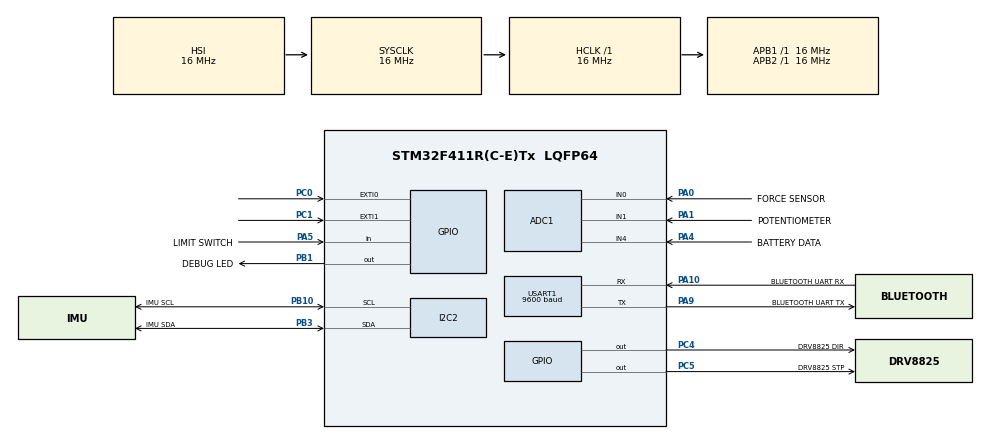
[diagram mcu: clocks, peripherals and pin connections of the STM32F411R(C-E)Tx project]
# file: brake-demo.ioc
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ADC1.Channel-0\#ChannelRegularConversion=ADC_CHANNEL_0
ADC1.Channel-1\#ChannelRegularConversion=ADC_CHANNEL_1
ADC1.Channel-4\#ChannelRegularConversion=ADC_CHANNEL_4
ADC1.ContinuousConvMode=DISABLE
ADC1.DMAContinuousRequests=ENABLE
ADC1.DiscontinuousConvMode=DISABLE
ADC1.ExternalTrigConv=ADC_EXTERNALTRIGCONV_T3_TRGO
ADC1.InjNumberOfConversion=0
ADC1.NbrOfConversion=3
ADC1.NbrOfConversionFlag=1
ADC1.Rank-0\#ChannelRegularConversion=1
ADC1.Rank-1\#ChannelRegularConversion=2
ADC1.Rank-4\#ChannelRegularConversion=3
ADC1.SamplingTime-0\#ChannelRegularConversion=ADC_SAMPLETIME_3CYCLES
ADC1.SamplingTime-1\#ChannelRegularConversion=ADC_SAMPLETIME_3CYCLES
ADC1.SamplingTime-4\#ChannelRegularConversion=ADC_SAMPLETIME_3CYCLES
ADC1.ScanConvMode=ENABLE
ADC1.master=1
Dma.ADC1.0.Direction=DMA_PERIPH_TO_MEMORY
Dma.ADC1.0.FIFOMode=DMA_FIFOMODE_DISABLE
Dma.ADC1.0.Instance=DMA2_Stream0
Dma.ADC1.0.MemDataAlignment=DMA_MDATAALIGN_HALFWORD
Dma.ADC1.0.MemInc=DMA_MINC_ENABLE
Dma.ADC1.0.Mode=DMA_CIRCULAR
Dma.ADC1.0.PeriphDataAlignment=DMA_PDATAALIGN_HALFWORD
Dma.ADC1.0.PeriphInc=DMA_PINC_DISABLE
Dma.ADC1.0.Priority=DMA_PRIORITY_LOW
Dma.Request0=ADC1
Mcu.Family=STM32F4
Mcu.Name=STM32F411R(C-E)Tx
Mcu.Package=LQFP64
Mcu.UserConstants=SLOW_PERIOD,2000;FAST_PERIOD,20
NVIC.DMA2_Stream0_IRQn=true\:0\:0\:false\:false\:true\:false\:true\:true
NVIC.EXTI0_IRQn=true\:0\:0\:false\:false\:true\:true\:true\:true
NVIC.EXTI1_IRQn=true\:0\:0\:false\:false\:true\:true\:true\:true
NVIC.PriorityGroup=NVIC_PRIORITYGROUP_4
NVIC.TIM1_TRG_COM_TIM11_IRQn=true\:0\:0\:false\:false\:true\:true\:true\:true
NVIC.TIM1_UP_TIM10_IRQn=true\:0\:0\:false\:false\:true\:true\:true\:true
PA0-WKUP.GPIO_Label=FORCE SENSOR
PA0-WKUP.Signal=ADCx_IN0
PA1.GPIO_Label=POTENTIOMETER
PA1.Signal=ADCx_IN1
PA10.GPIO_Label=BLUETOOTH UART RX
PA10.Mode=Asynchronous
PA10.Signal=USART1_RX
PA4.GPIO_Label=BATTERY DATA
PA4.Signal=ADCx_IN4
PA5.GPIO_Label=LIMIT SWITCH
PA5.Signal=GPIO_Input
PA9.GPIO_Label=BLUETOOTH UART TX
PA9.Mode=Asynchronous
PA9.Signal=USART1_TX
PB1.GPIO_Label=DEBUG LED
PB1.Signal=GPIO_Output
PB10.GPIO_Label=IMU SCL
PB10.Mode=I2C
PB10.Signal=I2C2_SCL
PB3.GPIO_Label=IMU SDA
PB3.Mode=I2C
PB3.Signal=I2C2_SDA
PC0.Signal=GPXTI0
PC1.Signal=GPXTI1
PC4.GPIO_Label=DRV8825 DIR
PC4.Signal=GPIO_Output
PC5.GPIO_Label=DRV8825 STP
PC5.Signal=GPIO_Output
ProjectManager.HeapSize=0x200
ProjectManager.StackSize=0x400
ProjectManager.TargetToolchain=STM32CubeIDE
RCC.AHBFreq_Value=16000000
RCC.APB1Freq_Value=16000000
RCC.APB2Freq_Value=16000000
RCC.CortexFreq_Value=16000000
RCC.HSE_VALUE=25000000
RCC.HSI_VALUE=16000000
RCC.LSE_VALUE=32768
RCC.SYSCLKFreq_VALUE=16000000
RCC.VCOOutputFreq_Value=192000000
SH.ADCx_IN0.0=ADC1_IN0,IN0
SH.ADCx_IN1.0=ADC1_IN1,IN1
SH.ADCx_IN4.0=ADC1_IN4,IN4
TIM10.Period=SLOW_PERIOD
TIM10.Prescaler=15
TIM11.Period=FAST_PERIOD
TIM11.Prescaler=15
TIM3.Period=16000-1
TIM3.TIM_MasterOutputTrigger=TIM_TRGO_UPDATE
USART1.BaudRate=9600
USART1.VirtualMode=VM_ASYNC
VP_TIM10_VS_ClockSourceINT.Mode=Enable_Timer
VP_TIM11_VS_ClockSourceINT.Mode=Enable_Timer
VP_TIM3_VS_ClockSourceINT.Mode=Internal
board=custom

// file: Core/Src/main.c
/* USER CODE BEGIN Header */
/**
  ******************************************************************************
  * @file           : main.c
  * @brief          : Main program body
  ******************************************************************************
  * @attention
  *
  * Copyright (c) 2022 STMicroelectronics.
  * All rights reserved.
  *
  * This software is licensed under terms that can be found in the LICENSE file
  * in the root directory of this software component.
  * If no LICENSE file comes with this software, it is provided AS-IS.
  *
  ******************************************************************************
  */
/* USER CODE END Header */
#include "main.h"

/* USER CODE BEGIN Includes */

#include "adc_sensor.h"
#include "brake_wireless.h"
#include "battery_sensor.h"
#include "force_sensor.h"
#include "i2c_mux.h"
#include "imu.h"
#include "interrupt_timer.h"
#include "joint.h"
#include "motor.h"
#include "potentiometer.h"
#include "skater.h"
#include "speed_sensor.h"
#include <stdbool.h>
#include <string.h>

/* USER CODE END Includes */

/* USER CODE BEGIN PD */

#define USE_POTENTIOMETER_FEEDBACK false
#define USE_FORCE_SENSOR false
#define USE_WIRELESS_COMMS_WATCHDOG false

/* USER CODE END PD */

ADC_HandleTypeDef hadc1;
DMA_HandleTypeDef hdma_adc1;

I2C_HandleTypeDef hi2c2;

TIM_HandleTypeDef htim3;
TIM_HandleTypeDef htim10;
TIM_HandleTypeDef htim11;

UART_HandleTypeDef huart1;

/* USER CODE BEGIN PV */

ADCSensor *adc_sensor = NULL;
BatterySensor *battery_sensor = NULL;
I2CMux* i2c_mux = NULL;
IMU *imu = NULL;
IMU *imu2 = NULL;
Motor *motor = NULL;
Potentiometer *potentiometer = NULL;
Joint *joint = NULL;
ForceSensor *force_sensor = NULL;
Skater *skater = NULL;
Wireless *wireless = NULL;
PinData* motor_direction_pin = NULL;
PinData* motor_step_pin = NULL;
PinData* limit_switch_pin = NULL;
InterruptTimer* slow_interrupt_timer = NULL;
InterruptTimer* fast_interrupt_timer = NULL;
InterruptTimer* adc_interrupt_timer = NULL;
SpeedSensor* speed_sensor = NULL;
bool send_message_flag = false;

/* USER CODE END PV */

void SystemClock_Config(void);
static void MX_GPIO_Init(void);
static void MX_DMA_Init(void);
static void MX_ADC1_Init(void);
static void MX_TIM10_Init(void);
static void MX_TIM11_Init(void);
static void MX_USART1_UART_Init(void);
static void MX_I2C2_Init(void);
static void MX_TIM3_Init(void);

/* USER CODE BEGIN 0 */

void HAL_ADC_ConvCpltCallback(ADC_HandleTypeDef *hadc1) {
	update_adc_sensor_values(adc_sensor);
}

void HAL_GPIO_EXTI_Callback(uint16_t GPIO_Pin)
{
    if(GPIO_Pin == GPIO_PIN_0)
    {
    	trigger_speed_sensor_interrupt(speed_sensor, true);
    }
    else if (GPIO_Pin == GPIO_PIN_1) {
    	trigger_speed_sensor_interrupt(speed_sensor, false);
    }
}

void HAL_TIM_PeriodElapsedCallback(TIM_HandleTypeDef *htim) {
	if (htim == fast_interrupt_timer->timer) {
		// 2 us
//		HAL_GPIO_WritePin(DEBUG_LED_GPIO_Port, DEBUG_LED_Pin, GPIO_PIN_SET);
		move_joint_to_target(joint);
//		HAL_GPIO_WritePin(DEBUG_LED_GPIO_Port, DEBUG_LED_Pin, GPIO_PIN_RESET);
	}
	if (htim == slow_interrupt_timer->timer) {
		// 2 ms
		update_adc_sensor_values(adc_sensor);
		if (USE_FORCE_SENSOR) {
			refresh_skater_status(skater);
		}
		if (USE_LIMIT_SWITCH) {
			refresh_joint_limit_switch(joint);
		}
		if (USE_POTENTIOMETER_FEEDBACK) {
			refresh_joint_angle(joint);
		}
		if (is_skater_gone(skater)) {
			set_joint_target(joint, AUTOMATIC_BRAKING_ANGLE_DEGREES);
		}
		else if (USE_WIRELESS_COMMS_WATCHDOG && is_wireless_comms_lost(wireless)) {
			set_joint_target(joint, AUTOMATIC_RELAX_ANGLE_DEGREES);
		}

		refresh_wireless_status(wireless);
	}
}

/* USER CODE END 0 */

int main(void)
{
  /* USER CODE BEGIN 1 */

	adc_sensor = new_adc_sensor(&hadc1, 3);
	i2c_mux = new_i2c_mux(&hi2c2);
	imu = new_imu(&hi2c2, i2c_mux, 0);
	imu2 = new_imu(&hi2c2, i2c_mux, 1);
	motor_direction_pin = new_pin_data(DRV8825_DIR_GPIO_Port, DRV8825_DIR_Pin, PIN_IS_OUTPUT);
	motor_step_pin = new_pin_data(DRV8825_STP_GPIO_Port, DRV8825_STP_Pin, PIN_IS_OUTPUT);
	limit_switch_pin = new_pin_data(LIMIT_SWITCH_GPIO_Port, LIMIT_SWITCH_Pin, PIN_IS_INPUT);
	motor = new_motor(motor_direction_pin, motor_step_pin);
	slow_interrupt_timer = new_interrupt_timer(&htim10);
	fast_interrupt_timer = new_interrupt_timer(&htim11);
	adc_interrupt_timer = new_interrupt_timer(&htim3);
	potentiometer = new_potentiometer(adc_sensor, 1);
	joint = new_joint(motor, potentiometer, limit_switch_pin);
	force_sensor = new_force_sensor(adc_sensor, 0);
	battery_sensor = new_battery_sensor(adc_sensor, 2);
	skater = new_skater(force_sensor);
	wireless = new_wireless(&huart1);
	speed_sensor = new_speed_sensor(imu, imu2);

  /* USER CODE END 1 */

  /* MCU Configuration--------------------------------------------------------*/

  /* Reset of all peripherals, Initializes the Flash interface and the Systick. */
  HAL_Init();

  /* Configure the system clock */
  SystemClock_Config();

  /* Initialize all configured peripherals */
  MX_GPIO_Init();
  MX_DMA_Init();
  MX_ADC1_Init();
  MX_TIM10_Init();
  MX_TIM11_Init();
  MX_USART1_UART_Init();
  MX_I2C2_Init();
  MX_TIM3_Init();
  /* USER CODE BEGIN 2 */

//  init_adc_sensor(adc_sensor);
//  start_interrupt_timer(adc_interrupt_timer);
//
//  start_interrupt_timer(fast_interrupt_timer);
//  start_interrupt_timer(slow_interrupt_timer);

  init_imu(imu);
  init_imu(imu2);
  float max_value = 0;
	  float values[3];
	  float values2[3];
for (size_t i = 0; i < 3; ++i) {
	 values[i] = 0;
	  values2[i] = 0;
}

  /* USER CODE END 2 */

  /* Infinite loop */
  while (1)
  {

    /* USER CODE BEGIN 3 */

	  HAL_Delay(100);
	  for (size_t i = 0; i < 3; ++i) {
		  refresh_imu_accel_in_axis(imu, i);
		  values[i] = get_imu_accel_in_axis(imu, i);
	  }

	  for (size_t i = 0; i < 3; ++i) {
		  refresh_imu_accel_in_axis(imu2, i);
		  values2[i] = get_imu_accel_in_axis(imu2, i);
	  }

	  if (fabs(values[2]) > max_value || fabs(values2[2] > max_value)) {
		  if (values[2] > max_value) {
			  max_value = values[2];
		  }
		  if (values2[2] > max_value) {
			  max_value = values2[2];
		  }
	  }

//	  receive_wireless(wireless, skater, joint);

	  // TODO - this statement is in an if statement since we are afraid that it takes too much time
	  // and will decrease responsiveness. However, this may not actually be true
	  // It is worth testing to see if this is actually the case.
//	  if (joint->desired_angle_degrees == joint->current_angle_degrees) {
//		  int current_speed = (int)joint->current_angle_degrees; // TODO - get actual speed
//		  send_wireless_speed(wireless, current_speed);
//
//		  int battery_data = get_battery_sensor_data(battery_sensor);
//		  send_wireless_battery_data(wireless, battery_data);  // TODO - get actual battery data
//
//	  }

  }

  /* USER CODE END 3 */
}

void SystemClock_Config(void)
{
  RCC_OscInitTypeDef RCC_OscInitStruct = {0};
  RCC_ClkInitTypeDef RCC_ClkInitStruct = {0};

  /** Configure the main internal regulator output voltage
  */
  __HAL_RCC_PWR_CLK_ENABLE();
  __HAL_PWR_VOLTAGESCALING_CONFIG(PWR_REGULATOR_VOLTAGE_SCALE1);

  /** Initializes the RCC Oscillators according to the specified parameters
  * in the RCC_OscInitTypeDef structure.
  */
  RCC_OscInitStruct.OscillatorType = RCC_OSCILLATORTYPE_HSI;
  RCC_OscInitStruct.HSIState = RCC_HSI_ON;
  RCC_OscInitStruct.HSICalibrationValue = RCC_HSICALIBRATION_DEFAULT;
  RCC_OscInitStruct.PLL.PLLState = RCC_PLL_NONE;
  if (HAL_RCC_OscConfig(&RCC_OscInitStruct) != HAL_OK)
  {
    Error_Handler();
  }

  /** Initializes the CPU, AHB and APB buses clocks
  */
  RCC_ClkInitStruct.ClockType = RCC_CLOCKTYPE_HCLK|RCC_CLOCKTYPE_SYSCLK
                              |RCC_CLOCKTYPE_PCLK1|RCC_CLOCKTYPE_PCLK2;
  RCC_ClkInitStruct.SYSCLKSource = RCC_SYSCLKSOURCE_HSI;
  RCC_ClkInitStruct.AHBCLKDivider = RCC_SYSCLK_DIV1;
  RCC_ClkInitStruct.APB1CLKDivider = RCC_HCLK_DIV1;
  RCC_ClkInitStruct.APB2CLKDivider = RCC_HCLK_DIV1;

  if (HAL_RCC_ClockConfig(&RCC_ClkInitStruct, FLASH_LATENCY_0) != HAL_OK)
  {
    Error_Handler();
  }
}

static void MX_ADC1_Init(void)
{

  ADC_ChannelConfTypeDef sConfig = {0};

  /** Configure the global features of the ADC (Clock, Resolution, Data Alignment and number of conversion)
  */
  hadc1.Instance = ADC1;
  hadc1.Init.ClockPrescaler = ADC_CLOCK_SYNC_PCLK_DIV2;
  hadc1.Init.Resolution = ADC_RESOLUTION_12B;
  hadc1.Init.ScanConvMode = ENABLE;
  hadc1.Init.ContinuousConvMode = DISABLE;
  hadc1.Init.DiscontinuousConvMode = DISABLE;
  hadc1.Init.ExternalTrigConvEdge = ADC_EXTERNALTRIGCONVEDGE_RISING;
  hadc1.Init.ExternalTrigConv = ADC_EXTERNALTRIGCONV_T3_TRGO;
  hadc1.Init.DataAlign = ADC_DATAALIGN_RIGHT;
  hadc1.Init.NbrOfConversion = 3;
  hadc1.Init.DMAContinuousRequests = ENABLE;
  hadc1.Init.EOCSelection = ADC_EOC_SINGLE_CONV;
  if (HAL_ADC_Init(&hadc1) != HAL_OK)
  {
    Error_Handler();
  }

  /** Configure for the selected ADC regular channel its corresponding rank in the sequencer and its sample time.
  */
  sConfig.Channel = ADC_CHANNEL_0;
  sConfig.Rank = 1;
  sConfig.SamplingTime = ADC_SAMPLETIME_3CYCLES;
  if (HAL_ADC_ConfigChannel(&hadc1, &sConfig) != HAL_OK)
  {
    Error_Handler();
  }

  /** Configure for the selected ADC regular channel its corresponding rank in the sequencer and its sample time.
  */
  sConfig.Channel = ADC_CHANNEL_1;
  sConfig.Rank = 2;
  if (HAL_ADC_ConfigChannel(&hadc1, &sConfig) != HAL_OK)
  {
    Error_Handler();
  }

  /** Configure for the selected ADC regular channel its corresponding rank in the sequencer and its sample time.
  */
  sConfig.Channel = ADC_CHANNEL_4;
  sConfig.Rank = 3;
  if (HAL_ADC_ConfigChannel(&hadc1, &sConfig) != HAL_OK)
  {
    Error_Handler();
  }

}

static void MX_I2C2_Init(void)
{

  hi2c2.Instance = I2C2;
  hi2c2.Init.ClockSpeed = 100000;
  hi2c2.Init.DutyCycle = I2C_DUTYCYCLE_2;
  hi2c2.Init.OwnAddress1 = 0;
  hi2c2.Init.AddressingMode = I2C_ADDRESSINGMODE_7BIT;
  hi2c2.Init.DualAddressMode = I2C_DUALADDRESS_DISABLE;
  hi2c2.Init.OwnAddress2 = 0;
  hi2c2.Init.GeneralCallMode = I2C_GENERALCALL_DISABLE;
  hi2c2.Init.NoStretchMode = I2C_NOSTRETCH_DISABLE;
  if (HAL_I2C_Init(&hi2c2) != HAL_OK)
  {
    Error_Handler();
  }

}

static void MX_TIM3_Init(void)
{

  TIM_ClockConfigTypeDef sClockSourceConfig = {0};
  TIM_MasterConfigTypeDef sMasterConfig = {0};

  htim3.Instance = TIM3;
  htim3.Init.Prescaler = 0;
  htim3.Init.CounterMode = TIM_COUNTERMODE_UP;
  htim3.Init.Period = 16000-1;
  htim3.Init.ClockDivision = TIM_CLOCKDIVISION_DIV1;
  htim3.Init.AutoReloadPreload = TIM_AUTORELOAD_PRELOAD_DISABLE;
  if (HAL_TIM_Base_Init(&htim3) != HAL_OK)
  {
    Error_Handler();
  }
  sClockSourceConfig.ClockSource = TIM_CLOCKSOURCE_INTERNAL;
  if (HAL_TIM_ConfigClockSource(&htim3, &sClockSourceConfig) != HAL_OK)
  {
    Error_Handler();
  }
  sMasterConfig.MasterOutputTrigger = TIM_TRGO_UPDATE;
  sMasterConfig.MasterSlaveMode = TIM_MASTERSLAVEMODE_DISABLE;
  if (HAL_TIMEx_MasterConfigSynchronization(&htim3, &sMasterConfig) != HAL_OK)
  {
    Error_Handler();
  }

}

static void MX_TIM10_Init(void)
{

  htim10.Instance = TIM10;
  htim10.Init.Prescaler = 15;
  htim10.Init.CounterMode = TIM_COUNTERMODE_UP;
  htim10.Init.Period = SLOW_PERIOD;
  htim10.Init.ClockDivision = TIM_CLOCKDIVISION_DIV1;
  htim10.Init.AutoReloadPreload = TIM_AUTORELOAD_PRELOAD_DISABLE;
  if (HAL_TIM_Base_Init(&htim10) != HAL_OK)
  {
    Error_Handler();
  }

}

static void MX_TIM11_Init(void)
{

  htim11.Instance = TIM11;
  htim11.Init.Prescaler = 15;
  htim11.Init.CounterMode = TIM_COUNTERMODE_UP;
  htim11.Init.Period = FAST_PERIOD;
  htim11.Init.ClockDivision = TIM_CLOCKDIVISION_DIV1;
  htim11.Init.AutoReloadPreload = TIM_AUTORELOAD_PRELOAD_DISABLE;
  if (HAL_TIM_Base_Init(&htim11) != HAL_OK)
  {
    Error_Handler();
  }

}

static void MX_USART1_UART_Init(void)
{

  huart1.Instance = USART1;
  huart1.Init.BaudRate = 9600;
  huart1.Init.WordLength = UART_WORDLENGTH_8B;
  huart1.Init.StopBits = UART_STOPBITS_1;
  huart1.Init.Parity = UART_PARITY_NONE;
  huart1.Init.Mode = UART_MODE_TX_RX;
  huart1.Init.HwFlowCtl = UART_HWCONTROL_NONE;
  huart1.Init.OverSampling = UART_OVERSAMPLING_16;
  if (HAL_UART_Init(&huart1) != HAL_OK)
  {
    Error_Handler();
  }

}

static void MX_DMA_Init(void)
{

  /* DMA controller clock enable */
  __HAL_RCC_DMA2_CLK_ENABLE();

  /* DMA interrupt init */
  /* DMA2_Stream0_IRQn interrupt configuration */
  HAL_NVIC_SetPriority(DMA2_Stream0_IRQn, 0, 0);
  HAL_NVIC_EnableIRQ(DMA2_Stream0_IRQn);

}

static void MX_GPIO_Init(void)
{
  GPIO_InitTypeDef GPIO_InitStruct = {0};

  /* GPIO Ports Clock Enable */
  __HAL_RCC_GPIOC_CLK_ENABLE();
  __HAL_RCC_GPIOA_CLK_ENABLE();
  __HAL_RCC_GPIOB_CLK_ENABLE();

  /*Configure GPIO pin Output Level */
  HAL_GPIO_WritePin(GPIOC, DRV8825_DIR_Pin|DRV8825_STP_Pin, GPIO_PIN_RESET);

  /*Configure GPIO pin Output Level */
  HAL_GPIO_WritePin(DEBUG_LED_GPIO_Port, DEBUG_LED_Pin, GPIO_PIN_RESET);

  /*Configure GPIO pins : PC0 PC1 */
  GPIO_InitStruct.Pin = GPIO_PIN_0|GPIO_PIN_1;
  GPIO_InitStruct.Mode = GPIO_MODE_IT_RISING;
  GPIO_InitStruct.Pull = GPIO_NOPULL;
  HAL_GPIO_Init(GPIOC, &GPIO_InitStruct);

  /*Configure GPIO pin : LIMIT_SWITCH_Pin */
  GPIO_InitStruct.Pin = LIMIT_SWITCH_Pin;
  GPIO_InitStruct.Mode = GPIO_MODE_INPUT;
  GPIO_InitStruct.Pull = GPIO_NOPULL;
  HAL_GPIO_Init(LIMIT_SWITCH_GPIO_Port, &GPIO_InitStruct);

  /*Configure GPIO pins : DRV8825_DIR_Pin DRV8825_STP_Pin */
  GPIO_InitStruct.Pin = DRV8825_DIR_Pin|DRV8825_STP_Pin;
  GPIO_InitStruct.Mode = GPIO_MODE_OUTPUT_PP;
  GPIO_InitStruct.Pull = GPIO_NOPULL;
  GPIO_InitStruct.Speed = GPIO_SPEED_FREQ_LOW;
  HAL_GPIO_Init(GPIOC, &GPIO_InitStruct);

  /*Configure GPIO pin : DEBUG_LED_Pin */
  GPIO_InitStruct.Pin = DEBUG_LED_Pin;
  GPIO_InitStruct.Mode = GPIO_MODE_OUTPUT_PP;
  GPIO_InitStruct.Pull = GPIO_NOPULL;
  GPIO_InitStruct.Speed = GPIO_SPEED_FREQ_LOW;
  HAL_GPIO_Init(DEBUG_LED_GPIO_Port, &GPIO_InitStruct);

  /* EXTI interrupt init*/
  HAL_NVIC_SetPriority(EXTI0_IRQn, 0, 0);
  HAL_NVIC_EnableIRQ(EXTI0_IRQn);

  HAL_NVIC_SetPriority(EXTI1_IRQn, 0, 0);
  HAL_NVIC_EnableIRQ(EXTI1_IRQn);

}

void Error_Handler(void)
{
  __disable_irq();
  while (1)
  {
  }
}
